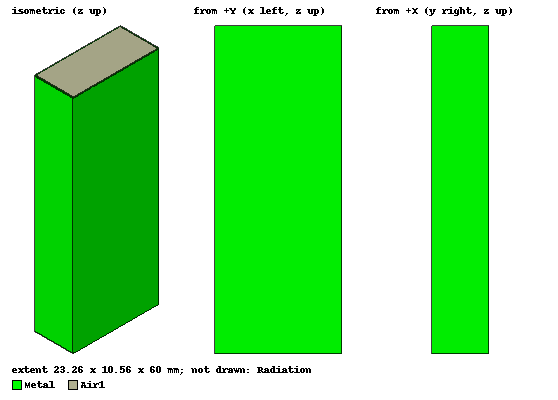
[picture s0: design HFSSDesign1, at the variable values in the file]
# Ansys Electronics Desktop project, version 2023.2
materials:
  vacuum: permittivity=1
  air: permittivity=1.0006 permeability=1.0000004
  copper: permeability=0.999991 conductivity=58000000

design HFSSDesign1 (HFSS, HFSS Modal Network, model units mm)
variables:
  a = 22.86mm
  b = 10.16mm
  L = 60mm
  th = 0.2mm
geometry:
  Air = box(corner=(-a/2, -b/2, 0mm), size=(a, b, L))
  Metal [copper] = box(corner=(-a/2-th, -b/2-th, 0mm), size=(a + 2*th, b + 2*th, L))
  Radiation [air] = box(corner=(-a/2-5mm, -b/2-5mm, 0mm), size=(a+10mm, b+10mm, L))
  Metal.subtract(Air)
  Air1 [vacuum] = box(corner=(-a/2, -b/2, 0mm), size=(a, b, L))
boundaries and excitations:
  Rad1: Radiation Objects=Radiation
  1: Wave Port Faces=Air1.face(-z) WavePortType=Modal NumModes=1 Modes{Mode1{IntLine{(0, -5.08, 0) -> (0, 5.08, 0)} CharImp=Zpi}}
  2: Wave Port Faces=Air1.face(+z) WavePortType=Modal NumModes=1 Modes{Mode1{IntLine{(0, 5.08, 60) -> (0, -5.08, 60)} CharImp=Zpi}}
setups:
  Setup1: HfssDriven Frequency=10GHz MaxDeltaS=0.02 MaximumPasses=12 MinimumPasses=1 MinimumConvergedPasses=1 PercentRefinement=30 BasisOrder=1 PortAccuracy=2 DrivenSolverType="Direct Solver"
    sweep Sweep: 5GHz to 15GHz, 401 points; Type=Interpolating InterpTolerance=0.5 InterpMaxSolns=250 InterpUsePortImped=false PassivityErrorTolerance=0.0001
    sweep Sweep1: 5GHz to 17GHz step 0.02GHz; 6.56GHz to 6.56GHz, 1 points; Type=Discrete SaveFields
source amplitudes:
  1:1: 1V 0deg
  2:1: 0V 0deg
